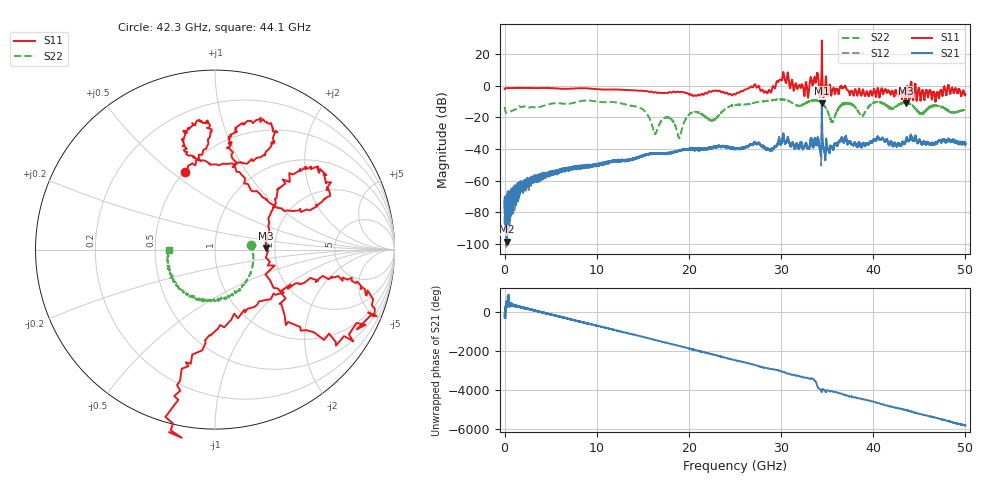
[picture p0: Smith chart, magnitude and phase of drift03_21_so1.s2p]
!Created with skrf (http://scikit-rf.org).
# Hz S RI R 50.0
!freq ReS11 ImS11 ReS21 ImS21 ReS12 ImS12 ReS22 ImS22
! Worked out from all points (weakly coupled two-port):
!   10000 points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, 5.3 MHz to 50 GHz, reference 50 ohm
!   highest |S21| = -10.84 dB at 34.43 GHz (marker M1); lowest = -98.6 dB at 225.3 MHz (marker M2)
!   lowest |S11| = -11.0 dB at 43.52 GHz (marker M3), VSWR 1.79, Z = 89.4 + j1.79 ohm
!   |S11| at or under -10 dB: 43.50135 GHz to 43.54131 GHz (39.96 MHz wide, 0.0918 % of centre); 43.54955 GHz to 43.55046 GHz (906.1 kHz wide, 0.00208 % of centre)
!   |S22| runs from -33.0 to -8.4 dB; largest |S21 - S12| = 0.088
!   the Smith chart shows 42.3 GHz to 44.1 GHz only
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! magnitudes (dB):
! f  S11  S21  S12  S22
! 5.3 MHz  -2.1  -70.9  -76.8  -13.3
! 225.3 MHz  -1.4  -98.6  -75.7  -17.0
! 3.26 GHz  -1.4  -60.3  -60.7  -13.7
! 8.34 GHz  -1.5  -50.6  -50.7  -9.5
! 14.53 GHz  -3.1  -45.2  -45.4  -13.5
! 16.67 GHz  -4.4  -43.0  -42.7  -25.9
! 17.81 GHz  -4.2  -42.6  -42.3  -20.1
! 18.97 GHz  -3.9  -41.0  -40.9  -33.0
! 20.28 GHz  -5.5  -40.1  -39.8  -17.0
! 22.58 GHz  -3.1  -38.9  -38.9  -21.6
! 25.01 GHz  -5.5  -39.8  -39.6  -12.1
! 28.72 GHz  -2.5  -40.5  -40.4  -9.4
! 30.14 GHz  4.4  -33.7  -34.0  -8.5
! 32.74 GHz  2.0  -36.5  -36.5  -10.8
! 33.34 GHz  2.6  -34.7  -35.1  -9.4
! 34.43 GHz  28.7  -10.8  -12.5  -10.9
! 35.54 GHz  -3.1  -39.1  -39.1  -22.9
! 36.95 GHz  0.2  -33.3  -33.4  -11.3
! 38.76 GHz  -5.6  -38.3  -38.2  -18.9
! 41.67 GHz  -3.2  -36.9  -36.6  -13.3
! 43.52 GHz  -11.0  -34.6  -35.1  -10.7
! 50 GHz  -5.3  -36.1  -36.5  -15.5
